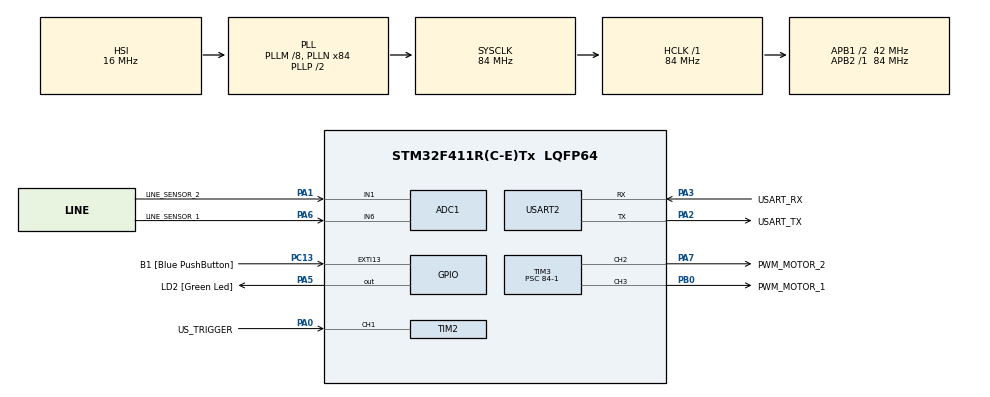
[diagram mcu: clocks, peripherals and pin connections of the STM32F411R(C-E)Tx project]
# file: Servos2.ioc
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ADC1.Channel-1\#ChannelRegularConversion=ADC_CHANNEL_1
ADC1.NbrOfConversionFlag=1
ADC1.Rank-1\#ChannelRegularConversion=1
ADC1.SamplingTime-1\#ChannelRegularConversion=ADC_SAMPLETIME_3CYCLES
ADC1.master=1
Mcu.Family=STM32F4
Mcu.Name=STM32F411R(C-E)Tx
Mcu.Package=LQFP64
NVIC.PriorityGroup=NVIC_PRIORITYGROUP_0
NVIC.TIM2_IRQn=true\:0\:0\:false\:false\:true\:true\:true\:true
PA0-WKUP.GPIO_Label=US_TRIGGER
PA0-WKUP.Signal=S_TIM2_CH1_ETR
PA1.GPIO_Label=LINE_SENSOR_2
PA1.Signal=ADCx_IN1
PA13.GPIO_Label=TMS
PA13.Mode=Serial_Wire
PA13.Signal=SYS_JTMS-SWDIO
PA14.GPIO_Label=TCK
PA14.Mode=Serial_Wire
PA14.Signal=SYS_JTCK-SWCLK
PA2.GPIO_Label=USART_TX
PA2.Mode=Asynchronous
PA2.Signal=USART2_TX
PA3.GPIO_Label=USART_RX
PA3.Mode=Asynchronous
PA3.Signal=USART2_RX
PA5.GPIO_Label=LD2 [Green Led]
PA5.Signal=GPIO_Output
PA6.GPIO_Label=LINE_SENSOR_1
PA6.Signal=ADCx_IN6
PA7.GPIO_Label=PWM_MOTOR_2
PA7.Signal=S_TIM3_CH2
PB0.GPIO_Label=PWM_MOTOR_1
PB0.Signal=S_TIM3_CH3
PB3.GPIO_Label=SWO
PB3.Signal=SYS_JTDO-SWO
PC13-ANTI_TAMP.GPIO_Label=B1 [Blue PushButton]
PC13-ANTI_TAMP.GPIO_ModeDefaultEXTI=GPIO_MODE_IT_FALLING
PC13-ANTI_TAMP.Signal=GPXTI13
PC14-OSC32_IN.Mode=LSE-External-Oscillator
PC14-OSC32_IN.Signal=RCC_OSC32_IN
PC15-OSC32_OUT.Mode=LSE-External-Oscillator
PC15-OSC32_OUT.Signal=RCC_OSC32_OUT
PH0\ -\ OSC_IN.Mode=HSE-External-Clock-Source
PH0\ -\ OSC_IN.Signal=RCC_OSC_IN
PH1\ -\ OSC_OUT.Mode=HSE-External-Clock-Source
PH1\ -\ OSC_OUT.Signal=RCC_OSC_OUT
ProjectManager.HeapSize=0x200
ProjectManager.StackSize=0x400
ProjectManager.TargetToolchain=CMake
RCC.48MHZClocksFreq_Value=42000000
RCC.AHBFreq_Value=84000000
RCC.APB1CLKDivider=RCC_HCLK_DIV2
RCC.APB1Freq_Value=42000000
RCC.APB1TimFreq_Value=84000000
RCC.APB2Freq_Value=84000000
RCC.APB2TimFreq_Value=84000000
RCC.CortexFreq_Value=84000000
RCC.FLatency-AdvancedSettings=FLASH_LATENCY_2
RCC.HCLKFreq_Value=84000000
RCC.HSE_VALUE=8000000
RCC.HSI_VALUE=16000000
RCC.PLLM=8
RCC.PLLN=84
RCC.SYSCLKFreq_VALUE=84000000
RCC.SYSCLKSource=RCC_SYSCLKSOURCE_PLLCLK
RCC.VCOOutputFreq_Value=168000000
SH.ADCx_IN1.0=ADC1_IN1,IN1
SH.ADCx_IN6.0=ADC1_IN6,IN6
SH.S_TIM2_CH1_ETR.0=TIM2_CH1,Input_Capture1_from_TI1
SH.S_TIM3_CH2.0=TIM3_CH2,PWM Generation2 CH2
SH.S_TIM3_CH3.0=TIM3_CH3,PWM Generation3 CH3
TIM2.Channel-Input_Capture1_from_TI1=TIM_CHANNEL_1
TIM3.Channel-PWM\ Generation2\ CH2=TIM_CHANNEL_2
TIM3.Channel-PWM\ Generation3\ CH3=TIM_CHANNEL_3
TIM3.Period=20000-1
TIM3.Prescaler=84-1
USART2.VirtualMode=VM_ASYNC
VP_TIM3_VS_ClockSourceINT.Mode=Internal
board=NUCLEO-F411RE

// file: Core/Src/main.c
/* USER CODE BEGIN Header */
/**
  ******************************************************************************
  * @file           : main.c
  * @brief          : Main program body
  ******************************************************************************
  * @attention
  *
  * Copyright (c) 2026 STMicroelectronics.
  * All rights reserved.
  *
  * This software is licensed under terms that can be found in the LICENSE file
  * in the root directory of this software component.
  * If no LICENSE file comes with this software, it is provided AS-IS.
  *
  ******************************************************************************
  */
/* USER CODE END Header */
#include "main.h"

/* USER CODE BEGIN Includes */
#include <stdio.h>
#include "motor.h"
#include "elapsed.h"
#include "ultrasonic.h"
#include "linesensor.h"
#include "obstacle.h"
/* USER CODE END Includes */

ADC_HandleTypeDef hadc1;

TIM_HandleTypeDef htim2;
TIM_HandleTypeDef htim3;

UART_HandleTypeDef huart2;

void SystemClock_Config(void);
static void MX_GPIO_Init(void);
static void MX_USART2_UART_Init(void);
static void MX_TIM3_Init(void);
static void MX_TIM2_Init(void);
static void MX_ADC1_Init(void);

/* USER CODE BEGIN 0 */

int _write(int file, char *ptr, int len)
{
  int DataIdx;

  for (DataIdx=0; DataIdx<len; DataIdx++)
  {
    HAL_UART_Transmit(&huart2, (uint8_t *)ptr++, 1, 100);
  }

  return len;
}

/* USER CODE END 0 */

int main(void)
{

  /* MCU Configuration--------------------------------------------------------*/

  /* Reset of all peripherals, Initializes the Flash interface and the Systick. */
  HAL_Init();

  /* Configure the system clock */
  SystemClock_Config();

  /* Initialize all configured peripherals */
  MX_GPIO_Init();
  MX_USART2_UART_Init();
  MX_TIM3_Init();
  MX_TIM2_Init();
  MX_ADC1_Init();
  /* USER CODE BEGIN 2 */
  motor_init();
  ultrasonic_init();
  linesensor_init();
  obsavoid_init();
  /* USER CODE END 2 */

  /* Infinite loop */
  /* USER CODE BEGIN WHILE */

  printf("TomiRobot Starting...\r\n");

  while (1)
  {
    /* USER CODE END WHILE */

    /* USER CODE BEGIN 3 */

    /* Process ultrasonic measurement state machine */
    ultrasonic_measure();

    /* Process obstacle avoidance */
    obsavoid_process();

  }

  /* USER CODE END 3 */
}

void SystemClock_Config(void)
{
  RCC_OscInitTypeDef RCC_OscInitStruct = {0};
  RCC_ClkInitTypeDef RCC_ClkInitStruct = {0};

  /** Configure the main internal regulator output voltage
  */
  __HAL_RCC_PWR_CLK_ENABLE();
  __HAL_PWR_VOLTAGESCALING_CONFIG(PWR_REGULATOR_VOLTAGE_SCALE1);

  /** Initializes the RCC Oscillators according to the specified parameters
  * in the RCC_OscInitTypeDef structure.
  */
  RCC_OscInitStruct.OscillatorType = RCC_OSCILLATORTYPE_HSI;
  RCC_OscInitStruct.HSIState = RCC_HSI_ON;
  RCC_OscInitStruct.HSICalibrationValue = RCC_HSICALIBRATION_DEFAULT;
  RCC_OscInitStruct.PLL.PLLState = RCC_PLL_ON;
  RCC_OscInitStruct.PLL.PLLSource = RCC_PLLSOURCE_HSI;
  RCC_OscInitStruct.PLL.PLLM = 8;
  RCC_OscInitStruct.PLL.PLLN = 84;
  RCC_OscInitStruct.PLL.PLLP = RCC_PLLP_DIV2;
  RCC_OscInitStruct.PLL.PLLQ = 4;
  if (HAL_RCC_OscConfig(&RCC_OscInitStruct) != HAL_OK)
  {
    Error_Handler();
  }

  /** Initializes the CPU, AHB and APB buses clocks
  */
  RCC_ClkInitStruct.ClockType = RCC_CLOCKTYPE_HCLK|RCC_CLOCKTYPE_SYSCLK
                              |RCC_CLOCKTYPE_PCLK1|RCC_CLOCKTYPE_PCLK2;
  RCC_ClkInitStruct.SYSCLKSource = RCC_SYSCLKSOURCE_PLLCLK;
  RCC_ClkInitStruct.AHBCLKDivider = RCC_SYSCLK_DIV1;
  RCC_ClkInitStruct.APB1CLKDivider = RCC_HCLK_DIV2;
  RCC_ClkInitStruct.APB2CLKDivider = RCC_HCLK_DIV1;

  if (HAL_RCC_ClockConfig(&RCC_ClkInitStruct, FLASH_LATENCY_2) != HAL_OK)
  {
    Error_Handler();
  }
}

static void MX_ADC1_Init(void)
{

  ADC_ChannelConfTypeDef sConfig = {0};

  /** Configure the global features of the ADC (Clock, Resolution, Data Alignment and number of conversion)
  */
  hadc1.Instance = ADC1;
  hadc1.Init.ClockPrescaler = ADC_CLOCK_SYNC_PCLK_DIV4;
  hadc1.Init.Resolution = ADC_RESOLUTION_12B;
  hadc1.Init.ScanConvMode = DISABLE;
  hadc1.Init.ContinuousConvMode = DISABLE;
  hadc1.Init.DiscontinuousConvMode = DISABLE;
  hadc1.Init.ExternalTrigConvEdge = ADC_EXTERNALTRIGCONVEDGE_NONE;
  hadc1.Init.ExternalTrigConv = ADC_SOFTWARE_START;
  hadc1.Init.DataAlign = ADC_DATAALIGN_RIGHT;
  hadc1.Init.NbrOfConversion = 1;
  hadc1.Init.DMAContinuousRequests = DISABLE;
  hadc1.Init.EOCSelection = ADC_EOC_SINGLE_CONV;
  if (HAL_ADC_Init(&hadc1) != HAL_OK)
  {
    Error_Handler();
  }

  /** Configure for the selected ADC regular channel its corresponding rank in the sequencer and its sample time.
  */
  sConfig.Channel = ADC_CHANNEL_1;
  sConfig.Rank = 1;
  sConfig.SamplingTime = ADC_SAMPLETIME_3CYCLES;
  if (HAL_ADC_ConfigChannel(&hadc1, &sConfig) != HAL_OK)
  {
    Error_Handler();
  }

}

static void MX_TIM2_Init(void)
{

  TIM_MasterConfigTypeDef sMasterConfig = {0};
  TIM_IC_InitTypeDef sConfigIC = {0};

  htim2.Instance = TIM2;
  htim2.Init.Prescaler = 0;
  htim2.Init.CounterMode = TIM_COUNTERMODE_UP;
  htim2.Init.Period = 4294967295;
  htim2.Init.ClockDivision = TIM_CLOCKDIVISION_DIV1;
  htim2.Init.AutoReloadPreload = TIM_AUTORELOAD_PRELOAD_DISABLE;
  if (HAL_TIM_IC_Init(&htim2) != HAL_OK)
  {
    Error_Handler();
  }
  sMasterConfig.MasterOutputTrigger = TIM_TRGO_RESET;
  sMasterConfig.MasterSlaveMode = TIM_MASTERSLAVEMODE_DISABLE;
  if (HAL_TIMEx_MasterConfigSynchronization(&htim2, &sMasterConfig) != HAL_OK)
  {
    Error_Handler();
  }
  sConfigIC.ICPolarity = TIM_INPUTCHANNELPOLARITY_RISING;
  sConfigIC.ICSelection = TIM_ICSELECTION_DIRECTTI;
  sConfigIC.ICPrescaler = TIM_ICPSC_DIV1;
  sConfigIC.ICFilter = 0;
  if (HAL_TIM_IC_ConfigChannel(&htim2, &sConfigIC, TIM_CHANNEL_1) != HAL_OK)
  {
    Error_Handler();
  }

}

static void MX_TIM3_Init(void)
{

  TIM_ClockConfigTypeDef sClockSourceConfig = {0};
  TIM_MasterConfigTypeDef sMasterConfig = {0};
  TIM_OC_InitTypeDef sConfigOC = {0};

  htim3.Instance = TIM3;
  htim3.Init.Prescaler = 84-1;
  htim3.Init.CounterMode = TIM_COUNTERMODE_UP;
  htim3.Init.Period = 20000-1;
  htim3.Init.ClockDivision = TIM_CLOCKDIVISION_DIV1;
  htim3.Init.AutoReloadPreload = TIM_AUTORELOAD_PRELOAD_DISABLE;
  if (HAL_TIM_Base_Init(&htim3) != HAL_OK)
  {
    Error_Handler();
  }
  sClockSourceConfig.ClockSource = TIM_CLOCKSOURCE_INTERNAL;
  if (HAL_TIM_ConfigClockSource(&htim3, &sClockSourceConfig) != HAL_OK)
  {
    Error_Handler();
  }
  if (HAL_TIM_PWM_Init(&htim3) != HAL_OK)
  {
    Error_Handler();
  }
  sMasterConfig.MasterOutputTrigger = TIM_TRGO_RESET;
  sMasterConfig.MasterSlaveMode = TIM_MASTERSLAVEMODE_DISABLE;
  if (HAL_TIMEx_MasterConfigSynchronization(&htim3, &sMasterConfig) != HAL_OK)
  {
    Error_Handler();
  }
  sConfigOC.OCMode = TIM_OCMODE_PWM1;
  sConfigOC.Pulse = 0;
  sConfigOC.OCPolarity = TIM_OCPOLARITY_HIGH;
  sConfigOC.OCFastMode = TIM_OCFAST_DISABLE;
  if (HAL_TIM_PWM_ConfigChannel(&htim3, &sConfigOC, TIM_CHANNEL_2) != HAL_OK)
  {
    Error_Handler();
  }
  if (HAL_TIM_PWM_ConfigChannel(&htim3, &sConfigOC, TIM_CHANNEL_3) != HAL_OK)
  {
    Error_Handler();
  }
  HAL_TIM_MspPostInit(&htim3);

}

static void MX_USART2_UART_Init(void)
{

  huart2.Instance = USART2;
  huart2.Init.BaudRate = 115200;
  huart2.Init.WordLength = UART_WORDLENGTH_8B;
  huart2.Init.StopBits = UART_STOPBITS_1;
  huart2.Init.Parity = UART_PARITY_NONE;
  huart2.Init.Mode = UART_MODE_TX_RX;
  huart2.Init.HwFlowCtl = UART_HWCONTROL_NONE;
  huart2.Init.OverSampling = UART_OVERSAMPLING_16;
  if (HAL_UART_Init(&huart2) != HAL_OK)
  {
    Error_Handler();
  }

}

static void MX_GPIO_Init(void)
{
  GPIO_InitTypeDef GPIO_InitStruct = {0};

  /* GPIO Ports Clock Enable */
  __HAL_RCC_GPIOC_CLK_ENABLE();
  __HAL_RCC_GPIOH_CLK_ENABLE();
  __HAL_RCC_GPIOA_CLK_ENABLE();
  __HAL_RCC_GPIOB_CLK_ENABLE();

  /*Configure GPIO pin Output Level */
  HAL_GPIO_WritePin(LD2_GPIO_Port, LD2_Pin, GPIO_PIN_RESET);

  /*Configure GPIO pin : B1_Pin */
  GPIO_InitStruct.Pin = B1_Pin;
  GPIO_InitStruct.Mode = GPIO_MODE_IT_FALLING;
  GPIO_InitStruct.Pull = GPIO_NOPULL;
  HAL_GPIO_Init(B1_GPIO_Port, &GPIO_InitStruct);

  /*Configure GPIO pin : LD2_Pin */
  GPIO_InitStruct.Pin = LD2_Pin;
  GPIO_InitStruct.Mode = GPIO_MODE_OUTPUT_PP;
  GPIO_InitStruct.Pull = GPIO_NOPULL;
  GPIO_InitStruct.Speed = GPIO_SPEED_FREQ_LOW;
  HAL_GPIO_Init(LD2_GPIO_Port, &GPIO_InitStruct);

}

void Error_Handler(void)
{
  __disable_irq();
  while (1)
  {
  }
}
